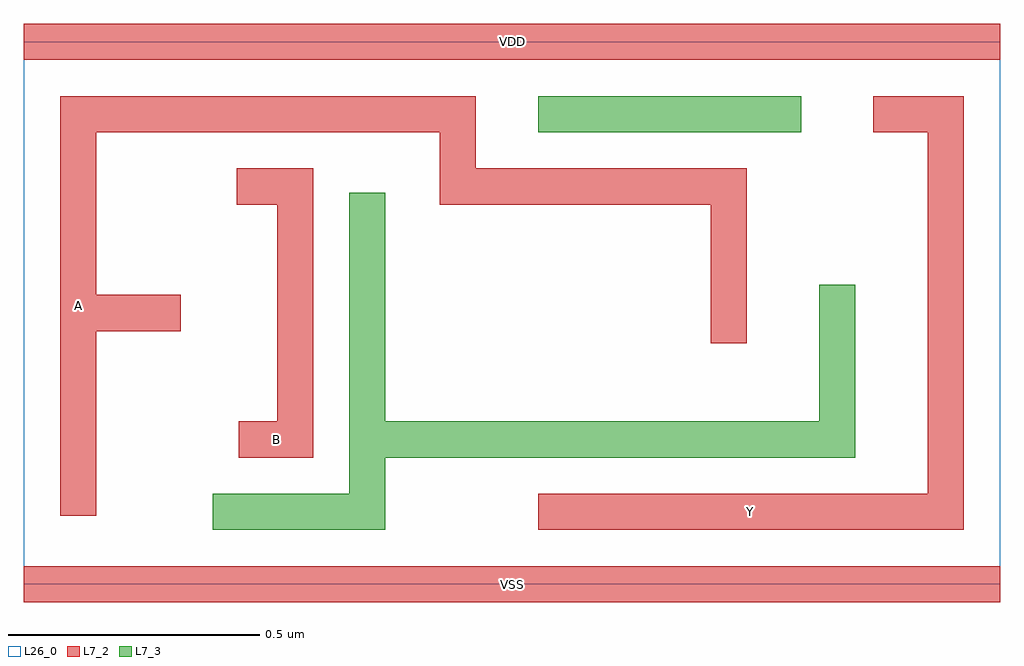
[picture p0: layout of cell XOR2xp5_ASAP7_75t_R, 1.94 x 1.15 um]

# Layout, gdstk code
import gdstk
lib = gdstk.Library(unit=1e-6, precision=1e-09)
def R(c, l, rs):  # rectangles x0, y0, x1, y1
    for r in rs: c.add(gdstk.rectangle(r[:2], r[2:], *l))
L7_2 = (7, 2)
L7_3 = (7, 3)
L26_0 = (26, 0)

xor2xp5_asap7_75t_r = lib.new_cell('XOR2xp5_ASAP7_75t_R')
R(xor2xp5_asap7_75t_r, L7_2, [(0,-0.036,1.944,0.036), (1.024,0.108,1.872,0.18), (1.8,0.108,1.872,0.972), (0.072,0.136,0.144,0.972), (0.428,0.252,0.576,0.324), (0.504,0.252,0.576,0.828), (1.368,0.48,1.44,0.828), (0.072,0.504,0.312,0.576), (0.424,0.756,0.576,0.828), (0.828,0.756,1.44,0.828), (0.828,0.756,0.9,0.972), (0.072,0.9,0.9,0.972), (1.692,0.9,1.872,0.972), (0,1.044,1.944,1.116)])
R(xor2xp5_asap7_75t_r, L7_3, [(0.376,0.108,0.72,0.18), (0.648,0.108,0.72,0.78), (0.648,0.252,1.656,0.324), (1.584,0.252,1.656,0.596), (1.024,0.9,1.548,0.972)])
R(xor2xp5_asap7_75t_r, L26_0, [(0,0,1.944,1.08)])
xor2xp5_asap7_75t_r.add(gdstk.Label('A', (0.108,0.554), layer=7, texttype=1))
xor2xp5_asap7_75t_r.add(gdstk.Label('B', (0.502,0.288), layer=7, texttype=1))
xor2xp5_asap7_75t_r.add(gdstk.Label('VDD', (0.972,1.08), layer=7, texttype=1))
xor2xp5_asap7_75t_r.add(gdstk.Label('VSS', (0.972,0), layer=7, texttype=1))
xor2xp5_asap7_75t_r.add(gdstk.Label('Y', (1.448,0.144), layer=7, texttype=1))

lib.write_gds('XOR2xp5_ASAP7_75t_R.gds')
